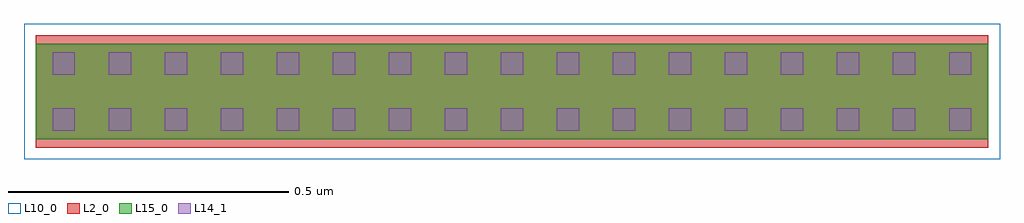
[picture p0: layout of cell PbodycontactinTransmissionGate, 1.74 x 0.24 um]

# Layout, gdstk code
import gdstk
lib = gdstk.Library(unit=1e-6, precision=1e-09)
def R(c, l, rs):  # rectangles x0, y0, x1, y1
    for r in rs: c.add(gdstk.rectangle(r[:2], r[2:], *l))
def A(c, l, x, y, w, h, nx, ny, dx, dy):  # array of equal rectangles
    R(c, l, [(x+i*dx, y+j*dy, x+i*dx+w, y+j*dy+h) for i in range(nx) for j in range(ny)])
L2_0 = (2, 0)
L10_0 = (10, 0)
L14_1 = (14, 1)
L15_0 = (15, 0)

pbodycontactintransmissi = lib.new_cell('PbodycontactinTransmissionGate')
R(pbodycontactintransmissi, L2_0, [(-0.85,-0.1,0.85,0.1)])
R(pbodycontactintransmissi, L10_0, [(-0.871,-0.121,0.871,0.121)])
A(pbodycontactintransmissi, L14_1, -0.82, -0.07, 0.04, 0.04, 17, 2, 0.1, 0.1)
R(pbodycontactintransmissi, L15_0, [(-0.85,-0.085,0.85,0.085)])

lib.write_gds('PbodycontactinTransmissionGate.gds')
